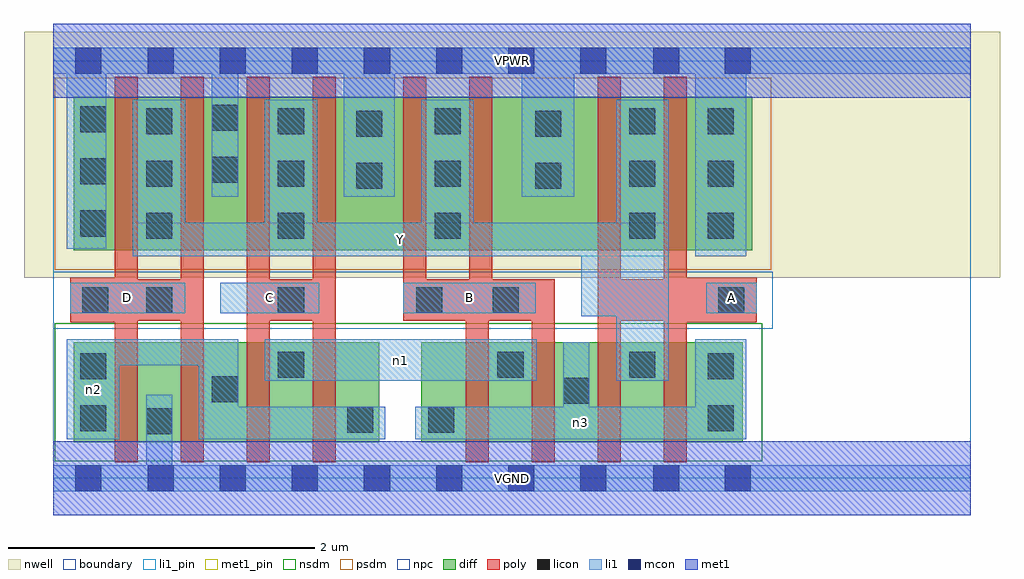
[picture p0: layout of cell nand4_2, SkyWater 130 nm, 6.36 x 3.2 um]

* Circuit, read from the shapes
.subckt nand4_2 A B C D VGND VPWR Y n1 n2 n3
XM1 VGND D n2 VSUBS sky130_fd_pr__nfet_01v8 w=0.65 l=0.15 m=2
XM2 n1 C n2 VSUBS sky130_fd_pr__nfet_01v8 w=0.65 l=0.15 m=2
XM3 n1 B n3 VSUBS sky130_fd_pr__nfet_01v8 w=0.65 l=0.15 m=2
XM4 Y A n3 VSUBS sky130_fd_pr__nfet_01v8 w=0.65 l=0.15 m=2
XM5 Y D VPWR n4 sky130_fd_pr__pfet_01v8 w=1 l=0.15 m=2
XM6 Y C VPWR n4 sky130_fd_pr__pfet_01v8 w=1 l=0.15 m=2
XM7 Y B VPWR n4 sky130_fd_pr__pfet_01v8 w=1 l=0.15 m=2
XM8 Y A VPWR n4 sky130_fd_pr__pfet_01v8 w=1 l=0.15 m=2
.ends

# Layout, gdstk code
import gdstk
lib = gdstk.Library(unit=1e-6, precision=1e-09)
def R(c, l, rs):  # rectangles x0, y0, x1, y1
    for r in rs: c.add(gdstk.rectangle(r[:2], r[2:], *l))
def A(c, l, x, y, w, h, nx, ny, dx, dy):  # array of equal rectangles
    R(c, l, [(x+i*dx, y+j*dy, x+i*dx+w, y+j*dy+h) for i in range(nx) for j in range(ny)])
nwell = (64, 20)
diff = (65, 20)
poly = (66, 20)
licon = (66, 44)
li1_pin = (67, 16)
li1 = (67, 20)
mcon = (67, 44)
met1_pin = (68, 16)
met1 = (68, 20)
nsdm = (93, 44)
psdm = (94, 20)
npc = (95, 20)
boundary = (235, 4)

nand4_2 = lib.new_cell('nand4_2')
R(nand4_2, nwell, [(-0.19,1.305,6.17,2.91), (0,1.305,5.98,2.91)])
R(nand4_2, diff, [(0.135,0.235,2.125,0.885), (2.4,0.235,4.495,0.885), (0.135,1.485,4.555,2.485)])
A(nand4_2, poly, 0.4, 0.105, 0.15, 2.51, 4, 1, 0.43, 0)
R(nand4_2, poly, [(2.69,0.105,2.84,1.295), (3.12,0.105,3.27,1.295), (3.55,0.105,3.7,2.615), (3.98,0.105,4.13,2.615), (0.11,1.015,0.55,1.305), (3.98,1.015,4.585,1.305), (0.11,1.025,0.98,1.295), (1.26,1.025,1.84,1.295), (2.28,1.025,3.27,1.295), (2.28,1.025,2.43,2.615), (2.71,1.025,2.86,2.615), (3.55,1.025,4.585,1.295)])
A(nand4_2, licon, 0.605, 1.56, 0.17, 0.17, 1, 3, 0, 0.34)
A(nand4_2, licon, 1.465, 1.56, 0.17, 0.17, 1, 3, 0, 0.34)
A(nand4_2, licon, 2.485, 1.56, 0.17, 0.17, 1, 3, 0, 0.34)
A(nand4_2, licon, 3.755, 1.56, 0.17, 0.17, 1, 3, 0, 0.34)
A(nand4_2, licon, 4.265, 1.56, 0.17, 0.17, 1, 3, 0, 0.34)
A(nand4_2, licon, 0.175, 1.575, 0.17, 0.17, 1, 3, 0, 0.34)
R(nand4_2, licon, [(0.605,0.285,0.775,0.455), (1.915,0.295,2.085,0.465), (2.445,0.295,2.615,0.465), (0.175,0.305,0.345,0.475), (4.265,0.305,4.435,0.475), (3.325,0.485,3.495,0.655), (1.035,0.495,1.205,0.665), (0.175,0.645,0.345,0.815), (4.265,0.645,4.435,0.815), (1.465,0.655,1.635,0.825), (2.895,0.655,3.065,0.825), (3.755,0.655,3.925,0.825), (0.19,1.075,0.36,1.245), (0.605,1.075,0.775,1.245), (1.465,1.075,1.635,1.245), (2.365,1.075,2.535,1.245), (2.865,1.075,3.035,1.245), (4.335,1.075,4.505,1.245), (1.975,1.885,2.145,2.055), (3.14,1.885,3.31,2.055), (1.035,1.925,1.205,2.095), (1.975,2.225,2.145,2.395), (3.14,2.225,3.31,2.395), (1.035,2.265,1.205,2.435)])
R(nand4_2, li1_pin, [(0.11,1.075,0.86,1.275), (1.09,1.075,1.735,1.275), (2.28,1.075,3.145,1.275), (4.255,1.075,4.585,1.275), (0.52,1.445,4.01,1.665)])
R(nand4_2, li1, [(0,-0.085,5.98,0.085), (0.605,-0.085,0.775,0.545), (0.09,0.255,0.43,0.905), (0.95,0.255,2.165,0.465), (0.95,0.255,1.205,0.905), (2.36,0.255,4.515,0.465), (3.325,0.255,3.495,0.885), (4.185,0.255,4.515,0.905), (1.38,0.635,3.15,0.905), (3.67,0.635,4.01,2.465), (0.09,0.735,1.205,0.905), (3.44,1.055,4.01,1.665), (0.11,1.075,0.86,1.275), (1.09,1.075,1.735,1.275), (2.28,1.075,3.145,1.275), (4.255,1.075,4.585,1.275), (0.52,1.445,4.01,1.665), (0.52,1.445,0.86,2.465), (1.38,1.445,1.72,2.465), (2.4,1.445,2.74,2.465), (4.185,1.445,4.515,2.805), (0.09,1.495,0.345,2.805), (1.035,1.835,1.205,2.805), (1.895,1.835,2.225,2.805), (3.055,1.835,3.395,2.805), (0,2.635,5.98,2.805)])
A(nand4_2, mcon, 0.145, -0.085, 0.17, 0.17, 8, 2, 0.47, 2.72)
R(nand4_2, mcon, [(3.91,-0.085,4.08,0.085), (4.375,-0.085,4.545,0.085), (3.91,2.635,4.08,2.805), (4.375,2.635,4.545,2.805)])
R(nand4_2, met1_pin, [(0,-0.24,5.98,0.24), (0,2.48,5.98,2.96)])
R(nand4_2, met1, [(0,-0.24,5.98,0.24), (0,2.48,5.98,2.96)])
R(nand4_2, nsdm, [(0.01,0.11,4.62,1.01)])
R(nand4_2, psdm, [(0.01,1.36,4.68,2.61)])
R(nand4_2, npc, [(0,0.975,4.69,1.345)])
R(nand4_2, boundary, [(0,0,5.98,2.72)])
nand4_2.add(gdstk.Label('A', (4.42,1.175), layer=67, texttype=5))
nand4_2.add(gdstk.Label('B', (2.712,1.175), layer=67, texttype=5))
nand4_2.add(gdstk.Label('C', (1.412,1.175), layer=67, texttype=5))
nand4_2.add(gdstk.Label('D', (0.485,1.175), layer=67, texttype=5))
nand4_2.add(gdstk.Label('Y', (2.265,1.555), layer=67, texttype=5))
nand4_2.add(gdstk.Label('n2', (0.26,0.58), layer=67, texttype=5))
nand4_2.add(gdstk.Label('n1', (2.265,0.77), layer=67, texttype=5))
nand4_2.add(gdstk.Label('n3', (3.437,0.36), layer=67, texttype=5))
nand4_2.add(gdstk.Label('VPWR', (2.99,2.72), layer=68, texttype=5))
nand4_2.add(gdstk.Label('VGND', (2.99,0), layer=68, texttype=5))
nand4_2.add(gdstk.Label('A', (4.42,1.175), layer=67, texttype=16))
nand4_2.add(gdstk.Label('B', (2.712,1.175), layer=67, texttype=16))
nand4_2.add(gdstk.Label('C', (1.412,1.175), layer=67, texttype=16))
nand4_2.add(gdstk.Label('D', (0.485,1.175), layer=67, texttype=16))
nand4_2.add(gdstk.Label('Y', (2.265,1.555), layer=67, texttype=16))
nand4_2.add(gdstk.Label('VPWR', (2.99,2.72), layer=68, texttype=16))
nand4_2.add(gdstk.Label('VGND', (2.99,0), layer=68, texttype=16))

lib.write_gds('nand4_2.gds')
